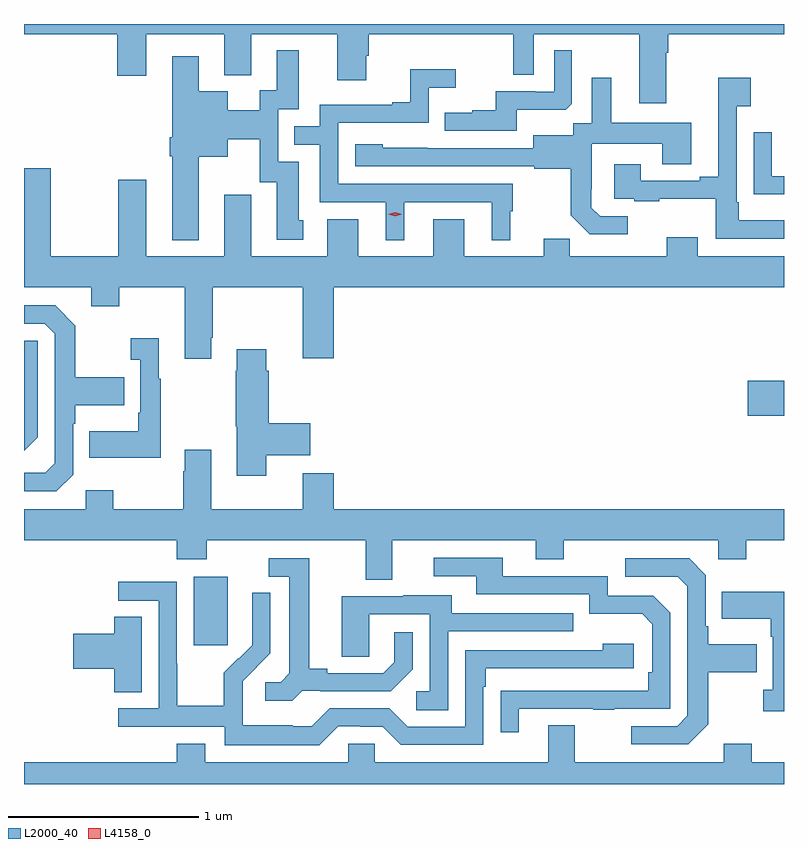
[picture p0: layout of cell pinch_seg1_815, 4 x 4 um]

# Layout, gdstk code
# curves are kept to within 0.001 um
import gdstk
lib = gdstk.Library(unit=1e-6, precision=1e-09)
def R(c, l, rs):  # rectangles x0, y0, x1, y1
    for r in rs: c.add(gdstk.rectangle(r[:2], r[2:], *l))
def P(c, l, *ps):  # polygons
    for p in ps: c.add(gdstk.Polygon(p, *l))
L2000_40 = (2000, 40)
L4158_0 = (4158, 0)

pinch_seg1_815 = lib.new_cell('pinch_seg1_815')
R(pinch_seg1_815, L2000_40, [(464.135,579.153,464.314,579.514), (467.052,580.361,467.242,580.544)])
P(pinch_seg1_815, L2000_40, [(466.621,582.272),(466.634,582.272),(466.634,582.368),(467.242,582.368),(467.242,582.422),(463.242,582.422),(463.242,582.368),(463.733,582.368),(463.733,582.15),(463.885,582.15),(463.885,582.368),(464.297,582.368),(464.297,582.152),(464.437,582.152),(464.437,582.368),(464.891,582.368),(464.891,582.126),(465.043,582.126),(465.043,582.255),(465.056,582.255),(465.056,582.368),(465.816,582.368),(465.816,582.154),(465.924,582.154),(465.924,582.368),(466.481,582.368),(466.481,582.006),(466.621,582.006)],
  [(464.161,581.723),(464.314,581.723),(464.314,581.816),(464.484,581.816),(464.484,581.589),(464.573,581.589),(464.573,581.286),(464.713,581.286),(464.713,581.388),(464.689,581.388),(464.689,581.697),(464.58,581.697),(464.58,581.973),(464.689,581.973),(464.689,582.283),(464.573,582.283),(464.573,582.074),(464.483,582.074),(464.483,581.968),(464.314,581.968),(464.314,582.067),(464.161,582.067),(464.161,582.253),(464.021,582.253),(464.021,581.827),(464.009,581.827),(464.009,581.727),(464.021,581.727),(464.021,581.285),(464.161,581.285)],
  [(465.835,581.972),(466.093,581.972),(466.125,582.003),(466.125,582.283),(466.032,582.283),(466.032,582.066),(465.932,582.066),(465.932,582.069),(465.725,582.069),(465.725,581.968),(465.601,581.968),(465.601,581.956),(465.457,581.956),(465.457,581.859),(465.835,581.859)],
  [(465.244,581.484),(465.704,581.484),(465.704,581.285),(465.802,581.285),(465.802,581.436),(465.814,581.436),(465.814,581.58),(464.895,581.58),(464.895,581.901),(465.372,581.901),(465.372,582.086),(465.514,582.086),(465.514,582.185),(465.274,582.185),(465.274,582.01),(465.179,582.01),(465.179,581.997),(464.799,581.997),(464.799,581.883),(464.665,581.883),(464.665,581.787),(464.799,581.787),(464.799,581.484),(465.146,581.484),(465.146,581.285),(465.244,581.285)],
  [(467.242,581.389),(467.005,581.389),(467.005,581.485),(466.992,581.485),(466.992,581.99),(467.068,581.99),(467.068,582.139),(466.895,582.139),(466.895,581.617),(466.799,581.617),(466.799,581.598),(466.489,581.598),(466.489,581.683),(466.349,581.683),(466.349,581.502),(466.453,581.502),(466.453,581.49),(466.585,581.49),(466.585,581.501),(466.884,581.501),(466.884,581.292),(467.242,581.292)],
  [(466.42,581.409),(466.275,581.409),(466.228,581.456),(466.228,581.551),(466.23,581.551),(466.23,581.792),(466.601,581.792),(466.601,581.683),(466.753,581.683),(466.753,581.902),(466.333,581.902),(466.333,582.139),(466.229,582.139),(466.229,581.9),(466.134,581.9),(466.134,581.836),(465.923,581.836),(465.923,581.769),(465.129,581.77),(465.129,581.788),(464.985,581.788),(464.985,581.673),(465.927,581.673),(465.927,581.661),(466.119,581.661),(466.119,581.415),(466.219,581.315),(466.42,581.315)],
  [(467.242,581.622),(467.178,581.622),(467.178,581.851),(467.082,581.851),(467.082,581.525),(467.242,581.525)],
  [(463.885,581.602),(463.738,581.602),(463.738,581.2),(463.383,581.2),(463.383,581.662),(463.242,581.662),(463.242,581.036),(463.595,581.036),(463.595,580.937),(463.743,580.937),(463.743,581.036),(464.087,581.036),(464.087,580.659),(464.227,580.659),(464.227,580.771),(464.235,580.771),(464.235,581.036),(464.708,581.036),(464.708,580.662),(464.872,580.662),(464.872,581.036),(467.242,581.036),(467.242,581.2),(466.789,581.2),(466.789,581.299),(466.625,581.299),(466.625,581.2),(466.115,581.2),(466.115,581.291),(465.977,581.291),(465.977,581.2),(465.559,581.2),(465.559,581.395),(465.395,581.395),(465.395,581.2),(465.001,581.2),(465.001,581.395),(464.837,581.395),(464.837,581.2),(464.437,581.2),(464.437,581.524),(464.297,581.524),(464.297,581.2),(463.885,581.2)],
  [(463.5,580.05),(463.5,580.319),(463.513,580.319),(463.513,580.415),(463.769,580.415),(463.769,580.563),(463.513,580.563),(463.513,580.835),(463.407,580.941),(463.242,580.941),(463.242,580.845),(463.35,580.845),(463.404,580.791),(463.404,580.11),(463.353,580.059),(463.242,580.059),(463.242,579.963),(463.413,579.963)],
  [(463.963,580.555),(463.951,580.555),(463.951,580.768),(463.803,580.768),(463.803,580.655),(463.854,580.655),(463.854,580.375),(463.842,580.375),(463.842,580.279),(463.585,580.279),(463.585,580.139),(463.963,580.139)],
  [(463.314,580.248),(463.314,580.755),(463.242,580.755),(463.242,580.176)],
  [(464.518,580.151),(464.749,580.151),(464.749,580.322),(464.531,580.322),(464.531,580.598),(464.518,580.598),(464.518,580.711),(464.363,580.711),(464.363,580.598),(464.356,580.598),(464.356,580.305),(464.363,580.305),(464.363,580.044),(464.518,580.044)],
  [(465.181,579.704),(465.935,579.704),(465.935,579.605),(466.083,579.605),(466.083,579.704),(466.896,579.704),(466.896,579.605),(467.043,579.605),(467.043,579.704),(467.242,579.704),(467.242,579.868),(464.872,579.868),(464.872,580.057),(464.708,580.057),(464.708,579.868),(464.227,579.868),(464.227,580.18),(464.087,580.18),(464.087,580.067),(464.08,580.067),(464.08,579.868),(463.713,579.868),(463.713,579.967),(463.566,579.967),(463.566,579.868),(463.242,579.868),(463.242,579.704),(464.045,579.704),(464.045,579.605),(464.205,579.605),(464.205,579.704),(465.041,579.704),(465.041,579.496),(465.181,579.496)],
  [(465.847,578.817),(466.237,578.817),(466.237,578.812),(466.349,578.812),(466.349,578.817),(466.644,578.817),(466.644,579.324),(466.554,579.414),(466.314,579.414),(466.314,579.516),(465.763,579.516),(465.763,579.612),(465.399,579.612),(465.399,579.516),(465.623,579.516),(465.623,579.42),(466.218,579.42),(466.218,579.317),(466.495,579.317),(466.548,579.264),(466.548,579.01),(466.528,579.01),(466.528,578.913),(465.751,578.912),(465.751,578.694),(465.847,578.694)],
  [(464.706,578.913),(464.8,578.913),(464.8,578.91),(465.172,578.91),(465.288,579.026),(465.288,579.22),(465.191,579.22),(465.191,579.063),(465.134,579.006),(464.839,579.006),(464.839,579.029),(464.743,579.029),(464.743,579.609),(464.529,579.609),(464.529,579.513),(464.639,579.513),(464.639,579.005),(464.592,578.958),(464.511,578.958),(464.511,578.861),(464.654,578.861)],
  [(466.843,578.737),(466.843,579.01),(467.099,579.01),(467.099,579.157),(466.843,579.157),(466.843,579.253),(466.83,579.253),(466.83,579.522),(466.743,579.609),(466.407,579.609),(466.407,579.513),(466.683,579.513),(466.734,579.462),(466.734,578.781),(466.68,578.727),(466.437,578.727),(466.437,578.631),(466.737,578.631)],
  [(464.895,578.727),(465.011,578.727),(465.011,578.724),(465.129,578.724),(465.225,578.628),(465.66,578.628),(465.66,578.933),(465.673,578.933),(465.673,579.03),(466.45,579.03),(466.45,579.16),(466.289,579.16),(466.289,579.126),(465.564,579.126),(465.564,578.724),(465.261,578.724),(465.165,578.82),(464.85,578.82),(464.757,578.727),(464.657,578.727),(464.657,578.731),(464.394,578.731),(464.394,578.865),(464.392,578.865),(464.392,578.962),(464.538,579.11),(464.538,579.428),(464.442,579.428),(464.442,579.274),(464.444,579.274),(464.444,579.152),(464.373,579.081),(464.37,579.084),(464.293,579.007),(464.293,578.833),(464.049,578.833),(464.049,579.056),(464.046,579.056),(464.046,579.486),(463.737,579.486),(463.737,579.387),(463.95,579.387),(463.95,578.82),(463.737,578.82),(463.737,578.724),(464.298,578.724),(464.298,578.627),(464.795,578.627)],
  [(467.242,579.433),(466.915,579.433),(466.915,579.293),(467.172,579.293),(467.172,579.197),(467.184,579.197),(467.184,578.918),(467.133,578.918),(467.133,578.805),(467.242,578.805)],
  [(465.474,579.225),(466.133,579.225),(466.133,579.321),(465.493,579.321),(465.493,579.415),(465.239,579.415),(465.239,579.411),(464.915,579.411),(464.915,579.091),(465.06,579.091),(465.06,579.315),(465.378,579.315),(465.378,578.91),(465.306,578.91),(465.306,578.809),(465.474,578.809)],
  [(463.861,579.302),(463.718,579.302),(463.718,579.212),(463.5,579.212),(463.5,579.029),(463.718,579.029),(463.718,578.905),(463.861,578.905)],
  [(467.242,578.536),(467.073,578.536),(467.073,578.635),(466.925,578.635),(466.925,578.536),(466.141,578.536),(466.141,578.731),(466.001,578.731),(466.001,578.536),(465.087,578.536),(465.087,578.634),(464.949,578.634),(464.949,578.536),(464.197,578.536),(464.197,578.635),(464.045,578.635),(464.045,578.536),(463.242,578.536),(463.242,578.422),(467.242,578.422)])
P(pinch_seg1_815, L4158_0, [(465.195,581.41),(465.16,581.42),(465.159,581.42),(465.16,581.421),(465.195,581.43),(465.23,581.421),(465.231,581.42),(465.23,581.42)])

lib.write_gds('pinch_seg1_815.gds')
